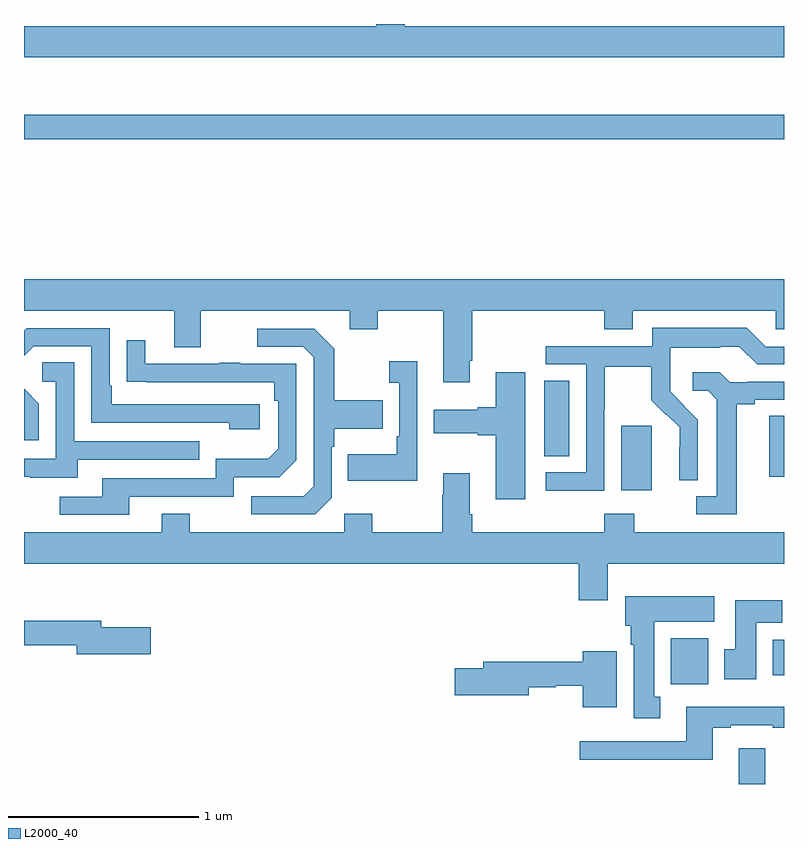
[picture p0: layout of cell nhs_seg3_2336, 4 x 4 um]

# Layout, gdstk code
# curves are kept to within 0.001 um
import gdstk
lib = gdstk.Library(unit=1e-6, precision=1e-09)
def R(c, l, rs):  # rectangles x0, y0, x1, y1
    for r in rs: c.add(gdstk.rectangle(r[:2], r[2:], *l))
def P(c, l, *ps):  # polygons
    for p in ps: c.add(gdstk.Polygon(p, *l))
L2000_40 = (2000, 40)

nhs_seg3_2336 = lib.new_cell('nhs_seg3_2336')
R(nhs_seg3_2336, L2000_40, [(234.761,722.4,234.901,722.587), (234.404,722.924,234.601,723.166), (234.941,722.972,235,723.16), (234.143,723.945,234.304,724.285), (234.923,724.017,235,724.337), (233.738,724.126,233.869,724.523), (231,725.794,235,725.923)])
P(nhs_seg3_2336, L2000_40, [(235,726.388),(233.005,726.388),(233.005,726.4),(232.853,726.4),(232.853,726.388),(231,726.388),(231,726.224),(235,726.224)],
  [(233.347,724.627),(233.36,724.627),(233.36,724.892),(234.053,724.892),(234.053,724.793),(234.205,724.793),(234.205,724.892),(234.957,724.892),(234.957,724.794),(235,724.794),(235,725.056),(231,725.056),(231,724.892),(231.791,724.892),(231.791,724.698),(231.931,724.698),(231.931,724.892),(232.715,724.892),(232.715,724.793),(232.863,724.793),(232.863,724.892),(233.207,724.892),(233.207,724.515),(233.347,724.515)],
  [(234.054,724.372),(234.057,724.372),(234.057,724.596),(234.301,724.596),(234.301,724.421),(234.378,724.344),(234.381,724.347),(234.452,724.277),(234.452,724.172),(234.449,724.172),(234.449,724),(234.546,724),(234.546,724.318),(234.4,724.466),(234.4,724.563),(234.402,724.563),(234.402,724.697),(234.665,724.697),(234.665,724.701),(234.765,724.701),(234.858,724.608),(235,724.608),(235,724.701),(234.903,724.701),(234.803,724.801),(234.306,724.801),(234.306,724.704),(233.745,724.704),(233.745,724.608),(233.958,724.608),(233.958,724.041),(233.745,724.041),(233.745,723.943),(234.054,723.943)],
  [(232.24,724.398),(231.463,724.398),(231.463,724.495),(231.45,724.495),(231.45,724.8),(231.015,724.8),(231,724.785),(231,724.653),(231.051,724.704),(231.354,724.704),(231.354,724.302),(232.079,724.302),(232.079,724.268),(232.24,724.268)],
  [(232.62,723.906),(232.62,724.175),(232.633,724.175),(232.633,724.271),(232.889,724.271),(232.889,724.419),(232.633,724.419),(232.633,724.691),(232.527,724.797),(232.227,724.797),(232.227,724.701),(232.47,724.701),(232.524,724.647),(232.524,723.966),(232.473,723.915),(232.197,723.915),(232.197,723.819),(232.533,723.819)],
  [(231.553,723.912),(232.104,723.912),(232.104,724.014),(232.344,724.014),(232.434,724.104),(232.434,724.611),(232.139,724.611),(232.139,724.616),(232.027,724.616),(232.027,724.611),(231.637,724.611),(231.637,724.735),(231.541,724.735),(231.541,724.516),(232.318,724.515),(232.318,724.418),(232.338,724.418),(232.338,724.164),(232.285,724.111),(232.008,724.111),(232.008,724.008),(231.413,724.008),(231.413,723.912),(231.189,723.912),(231.189,723.816),(231.553,723.816)],
  [(233.07,724.624),(232.923,724.624),(232.923,724.511),(232.974,724.511),(232.974,724.231),(232.962,724.231),(232.962,724.135),(232.705,724.135),(232.705,723.995),(233.07,723.995)],
  [(231.283,724.107),(231.923,724.107),(231.923,724.203),(231.264,724.203),(231.264,724.619),(231.096,724.619),(231.096,724.518),(231.168,724.518),(231.168,724.113),(231,724.113),(231,724.017),(231.029,724.017),(231.029,724.013),(231.283,724.013)],
  [(234.751,724.4),(234.847,724.4),(234.847,724.422),(235,724.422),(235,724.518),(234.808,724.518),(234.808,724.515),(234.714,724.515),(234.662,724.567),(234.519,724.567),(234.519,724.47),(234.6,724.47),(234.647,724.423),(234.647,723.915),(234.537,723.915),(234.537,723.819),(234.751,723.819)],
  [(233.638,724.567),(233.483,724.567),(233.483,724.382),(233.387,724.382),(233.387,724.369),(233.157,724.369),(233.157,724.247),(233.387,724.247),(233.387,724.235),(233.483,724.235),(233.483,723.9),(233.638,723.9)],
  [(231.078,724.402),(231,724.48),(231,724.209),(231.078,724.209)],
  [(234.073,723.56),(235,723.56),(235,723.724),(234.213,723.724),(234.213,723.823),(234.053,723.823),(234.053,723.724),(233.36,723.724),(233.36,723.82),(233.347,723.82),(233.347,724.036),(233.207,724.036),(233.207,723.923),(233.2,723.923),(233.2,723.724),(232.833,723.724),(232.833,723.823),(232.686,723.823),(232.686,723.724),(231.873,723.724),(231.873,723.823),(231.725,723.823),(231.725,723.724),(231,723.724),(231,723.56),(233.921,723.56),(233.921,723.366),(234.073,723.366)],
  [(234.349,722.858),(234.316,722.858),(234.316,723.254),(234.634,723.254),(234.634,723.388),(234.164,723.388),(234.164,723.234),(234.194,723.234),(234.194,723.134),(234.209,723.134),(234.209,722.745),(234.349,722.745)],
  [(234.853,723.248),(234.992,723.248),(234.992,723.367),(234.743,723.367),(234.743,723.108),(234.686,723.108),(234.686,722.952),(234.853,722.952)],
  [(231.667,723.225),(231.406,723.225),(231.406,723.259),(231,723.259),(231,723.13),(231.278,723.13),(231.278,723.083),(231.667,723.083)],
  [(234.121,723.1),(233.942,723.1),(233.942,723.044),(233.417,723.044),(233.417,723.008),(233.268,723.008),(233.268,722.866),(233.656,722.866),(233.656,722.908),(233.799,722.908),(233.799,722.916),(233.942,722.916),(233.942,722.804),(234.121,722.804)],
  [(234.625,722.697),(234.721,722.697),(234.721,722.709),(234.941,722.709),(234.941,722.697),(235,722.697),(235,722.806),(234.485,722.806),(234.485,722.625),(233.925,722.625),(233.925,722.528),(234.625,722.528)])

lib.write_gds('nhs_seg3_2336.gds')
